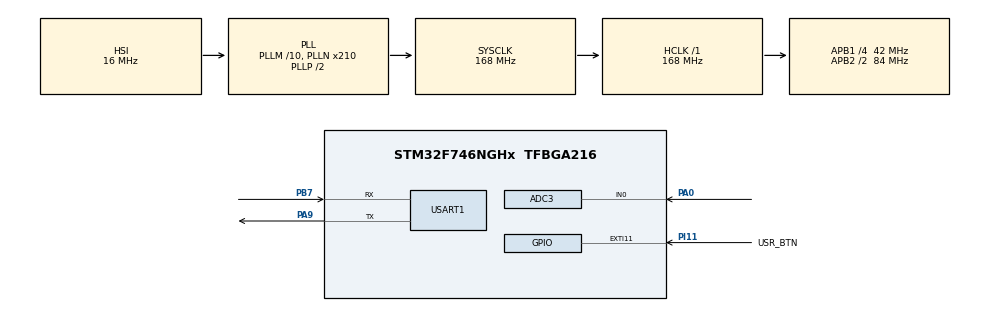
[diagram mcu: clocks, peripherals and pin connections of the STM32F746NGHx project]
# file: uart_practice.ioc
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ADC3.Channel-0\#ChannelRegularConversion=ADC_CHANNEL_0
ADC3.NbrOfConversionFlag=1
ADC3.Rank-0\#ChannelRegularConversion=1
ADC3.SamplingTime-0\#ChannelRegularConversion=ADC_SAMPLETIME_3CYCLES
FREERTOS.Mutexes01=linked_list,Dynamic,NULL
FREERTOS.Tasks01=defaultTask,0,128,StartDefaultTask,Default,NULL,Dynamic,NULL,NULL;RecComm,0,256,StartRecComm,Default,NULL,Dynamic,NULL,NULL;Print,0,256,StartPrint,Default,NULL,Dynamic,NULL,NULL;Dealloc,0,256,StartDealloc,Default,NULL,Dynamic,NULL,NULL
Mcu.Family=STM32F7
Mcu.Name=STM32F746NGHx
Mcu.Package=TFBGA216
NVIC.EXTI15_10_IRQn=true\:5\:0\:false\:false\:true\:true\:true\:true
NVIC.PriorityGroup=NVIC_PRIORITYGROUP_4
NVIC.TIM5_IRQn=true\:5\:0\:false\:false\:true\:true\:true\:true
NVIC.TIM8_TRG_COM_TIM14_IRQn=true\:0\:0\:false\:false\:true\:false\:false\:true
NVIC.TimeBase=TIM8_TRG_COM_TIM14_IRQn
NVIC.TimeBaseIP=TIM14
NVIC.USART1_IRQn=true\:5\:0\:false\:false\:true\:true\:true\:true
PA0/WKUP.Signal=ADCx_IN0
PA13.Mode=Serial_Wire
PA13.Signal=SYS_JTMS-SWDIO
PA14.Mode=Serial_Wire
PA14.Signal=SYS_JTCK-SWCLK
PA9.Mode=Asynchronous
PA9.Signal=USART1_TX
PB7.Mode=Asynchronous
PB7.Signal=USART1_RX
PC14/OSC32_IN.Mode=LSE-External-Oscillator
PC14/OSC32_IN.Signal=RCC_OSC32_IN
PC15/OSC32_OUT.Mode=LSE-External-Oscillator
PC15/OSC32_OUT.Signal=RCC_OSC32_OUT
PH0/OSC_IN.Mode=HSE-External-Clock-Source
PH0/OSC_IN.Signal=RCC_OSC_IN
PH1/OSC_OUT.Mode=HSE-External-Clock-Source
PH1/OSC_OUT.Signal=RCC_OSC_OUT
PI11.GPIO_Label=USR_BTN
PI11.Signal=GPXTI11
ProjectManager.HeapSize=0x200
ProjectManager.StackSize=0x400
ProjectManager.TargetToolchain=STM32CubeIDE
RCC.AHBFreq_Value=168000000
RCC.APB1CLKDivider=RCC_HCLK_DIV4
RCC.APB1Freq_Value=42000000
RCC.APB1TimFreq_Value=84000000
RCC.APB2CLKDivider=RCC_HCLK_DIV2
RCC.APB2Freq_Value=84000000
RCC.APB2TimFreq_Value=168000000
RCC.CortexFreq_Value=168000000
RCC.HCLKFreq_Value=168000000
RCC.HSE_VALUE=25000000
RCC.HSI_VALUE=16000000
RCC.PLLM=10
RCC.PLLN=210
RCC.PLLSourceVirtual=RCC_PLLSOURCE_HSI
RCC.SYSCLKFreq_VALUE=168000000
RCC.SYSCLKSource=RCC_SYSCLKSOURCE_PLLCLK
RCC.USBFreq_Value=168000000
RCC.VCOOutputFreq_Value=336000000
SH.ADCx_IN0.0=ADC3_IN0,IN0
TIM5.Period=30000
TIM5.Prescaler=8400-1
USART1.VirtualMode-Asynchronous=VM_ASYNC
VP_FREERTOS_VS_CMSIS_V1.Mode=CMSIS_V1
VP_SYS_VS_tim14.Mode=TIM14
VP_TIM5_VS_ClockSourceINT.Mode=Internal
board=STM32F746G-DISCO

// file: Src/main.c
/* USER CODE BEGIN Header */
/**
  ******************************************************************************
  * @file           : main.c
  * @brief          : Main program body
  ******************************************************************************
  * @attention
  *
  * <h2><center>&copy; Copyright (c) 2019 STMicroelectronics.
  * All rights reserved.</center></h2>
  *
  * This software component is licensed by ST under BSD 3-Clause license,
  * the "License"; You may not use this file except in compliance with the
  * License. You may obtain a copy of the License at:
  *                        opensource.org/licenses/BSD-3-Clause
  *
  ******************************************************************************
  */
/* USER CODE END Header */

#include "main.h"
#include "cmsis_os.h"

/* USER CODE BEGIN Includes */
#include "linked_list.h"
#include <stdio.h>
#include <string.h>
/* USER CODE END Includes */

ADC_HandleTypeDef hadc3;

TIM_HandleTypeDef htim5;

UART_HandleTypeDef huart1;

osThreadId defaultTaskHandle;
osThreadId RecCommHandle;
osThreadId PrintHandle;
osThreadId DeallocHandle;
osMutexId linked_listHandle;
/* USER CODE BEGIN PV */
int sys_init_flag = 0;
char uart_buffer;
char command_buffer[128];
char* command;
char* comm_char;
int uart_char_counter = 0;
node_t* command_list;
/* USER CODE END PV */

void SystemClock_Config(void);
static void MX_GPIO_Init(void);
static void MX_ADC3_Init(void);
static void MX_TIM5_Init(void);
static void MX_USART1_UART_Init(void);
void StartDefaultTask(void const * argument);
void StartRecComm(void const * argument);
void StartPrint(void const * argument);
void StartDealloc(void const * argument);

/* USER CODE BEGIN PFP */
void print_uart();
void print_linked_list(node_t* linked_list);
/* USER CODE END PFP */

/* USER CODE BEGIN 0 */
void print_uart()
{
	char tmp[32];
	sprintf(tmp, "Fakajuuu\r\n");
	HAL_UART_Transmit(&huart1, (uint8_t*)tmp, strlen(tmp), 50);
}

void print_linked_list(node_t* linked_list)
{
	if(linked_list == NULL){
		char tmp[32];
		sprintf(tmp, "EMPTY LIST\r\n");
		HAL_UART_Transmit(&huart1, (uint8_t*)tmp, strlen(tmp), 50);

	}

	int element_counter = 0;
	for(node_t* p = linked_list; p != NULL; p = p->next){
	  char tmp[128];
	  sprintf(tmp, "List element at %d.: %s\r\n", (element_counter + 1), p->data);
	  HAL_UART_Transmit(&huart1, (uint8_t*)tmp, strlen(tmp), 50);
	  element_counter++;
	}
}
/* USER CODE END 0 */

int main(void)
{

  /* MCU Configuration--------------------------------------------------------*/

  /* Reset of all peripherals, Initializes the Flash interface and the Systick. */
  HAL_Init();

  /* Configure the system clock */
  SystemClock_Config();

  /* USER CODE BEGIN SysInit */
  linked_list_create(&command_list);
  /* USER CODE END SysInit */

  /* Initialize all configured peripherals */
  MX_GPIO_Init();
  MX_ADC3_Init();
  MX_TIM5_Init();
  MX_USART1_UART_Init();
  /* USER CODE BEGIN 2 */
  HAL_TIM_Base_Start_IT(&htim5);
  HAL_UART_Receive_IT(&huart1, (uint8_t*)(&uart_buffer), 1);
  /* USER CODE END 2 */

  /* Create the mutex(es) */
  /* definition and creation of linked_list */
  osMutexDef(linked_list);
  linked_listHandle = osMutexCreate(osMutex(linked_list));

  /* Create the thread(s) */
  /* definition and creation of defaultTask */
  osThreadDef(defaultTask, StartDefaultTask, osPriorityNormal, 0, 128);
  defaultTaskHandle = osThreadCreate(osThread(defaultTask), NULL);

  /* definition and creation of RecComm */
  osThreadDef(RecComm, StartRecComm, osPriorityNormal, 0, 256);
  RecCommHandle = osThreadCreate(osThread(RecComm), NULL);

  /* definition and creation of Print */
  osThreadDef(Print, StartPrint, osPriorityNormal, 0, 256);
  PrintHandle = osThreadCreate(osThread(Print), NULL);

  /* definition and creation of Dealloc */
  osThreadDef(Dealloc, StartDealloc, osPriorityNormal, 0, 256);
  DeallocHandle = osThreadCreate(osThread(Dealloc), NULL);

  /* Start scheduler */
  osKernelStart();

  /* We should never get here as control is now taken by the scheduler */

  /* Infinite loop */
  while (1)
  {

  }
}

void SystemClock_Config(void)
{
  RCC_OscInitTypeDef RCC_OscInitStruct = {0};
  RCC_ClkInitTypeDef RCC_ClkInitStruct = {0};
  RCC_PeriphCLKInitTypeDef PeriphClkInitStruct = {0};

  /** Configure LSE Drive Capability
  */
  HAL_PWR_EnableBkUpAccess();
  /** Configure the main internal regulator output voltage
  */
  __HAL_RCC_PWR_CLK_ENABLE();
  __HAL_PWR_VOLTAGESCALING_CONFIG(PWR_REGULATOR_VOLTAGE_SCALE2);
  /** Initializes the CPU, AHB and APB busses clocks
  */
  RCC_OscInitStruct.OscillatorType = RCC_OSCILLATORTYPE_HSI;
  RCC_OscInitStruct.HSIState = RCC_HSI_ON;
  RCC_OscInitStruct.HSICalibrationValue = RCC_HSICALIBRATION_DEFAULT;
  RCC_OscInitStruct.PLL.PLLState = RCC_PLL_ON;
  RCC_OscInitStruct.PLL.PLLSource = RCC_PLLSOURCE_HSI;
  RCC_OscInitStruct.PLL.PLLM = 10;
  RCC_OscInitStruct.PLL.PLLN = 210;
  RCC_OscInitStruct.PLL.PLLP = RCC_PLLP_DIV2;
  RCC_OscInitStruct.PLL.PLLQ = 2;
  if (HAL_RCC_OscConfig(&RCC_OscInitStruct) != HAL_OK)
  {
    Error_Handler();
  }
  /** Initializes the CPU, AHB and APB busses clocks
  */
  RCC_ClkInitStruct.ClockType = RCC_CLOCKTYPE_HCLK|RCC_CLOCKTYPE_SYSCLK
                              |RCC_CLOCKTYPE_PCLK1|RCC_CLOCKTYPE_PCLK2;
  RCC_ClkInitStruct.SYSCLKSource = RCC_SYSCLKSOURCE_PLLCLK;
  RCC_ClkInitStruct.AHBCLKDivider = RCC_SYSCLK_DIV1;
  RCC_ClkInitStruct.APB1CLKDivider = RCC_HCLK_DIV4;
  RCC_ClkInitStruct.APB2CLKDivider = RCC_HCLK_DIV2;

  if (HAL_RCC_ClockConfig(&RCC_ClkInitStruct, FLASH_LATENCY_5) != HAL_OK)
  {
    Error_Handler();
  }
  PeriphClkInitStruct.PeriphClockSelection = RCC_PERIPHCLK_USART1;
  PeriphClkInitStruct.Usart1ClockSelection = RCC_USART1CLKSOURCE_PCLK2;
  if (HAL_RCCEx_PeriphCLKConfig(&PeriphClkInitStruct) != HAL_OK)
  {
    Error_Handler();
  }
}

static void MX_ADC3_Init(void)
{

  ADC_ChannelConfTypeDef sConfig = {0};

  /** Configure the global features of the ADC (Clock, Resolution, Data Alignment and number of conversion)
  */
  hadc3.Instance = ADC3;
  hadc3.Init.ClockPrescaler = ADC_CLOCK_SYNC_PCLK_DIV4;
  hadc3.Init.Resolution = ADC_RESOLUTION_12B;
  hadc3.Init.ScanConvMode = ADC_SCAN_DISABLE;
  hadc3.Init.ContinuousConvMode = DISABLE;
  hadc3.Init.DiscontinuousConvMode = DISABLE;
  hadc3.Init.ExternalTrigConvEdge = ADC_EXTERNALTRIGCONVEDGE_NONE;
  hadc3.Init.ExternalTrigConv = ADC_SOFTWARE_START;
  hadc3.Init.DataAlign = ADC_DATAALIGN_RIGHT;
  hadc3.Init.NbrOfConversion = 1;
  hadc3.Init.DMAContinuousRequests = DISABLE;
  hadc3.Init.EOCSelection = ADC_EOC_SINGLE_CONV;
  if (HAL_ADC_Init(&hadc3) != HAL_OK)
  {
    Error_Handler();
  }
  /** Configure for the selected ADC regular channel its corresponding rank in the sequencer and its sample time.
  */
  sConfig.Channel = ADC_CHANNEL_0;
  sConfig.Rank = ADC_REGULAR_RANK_1;
  sConfig.SamplingTime = ADC_SAMPLETIME_3CYCLES;
  if (HAL_ADC_ConfigChannel(&hadc3, &sConfig) != HAL_OK)
  {
    Error_Handler();
  }

}

static void MX_TIM5_Init(void)
{

  TIM_ClockConfigTypeDef sClockSourceConfig = {0};
  TIM_MasterConfigTypeDef sMasterConfig = {0};

  htim5.Instance = TIM5;
  htim5.Init.Prescaler = 8400-1;
  htim5.Init.CounterMode = TIM_COUNTERMODE_UP;
  htim5.Init.Period = 30000;
  htim5.Init.ClockDivision = TIM_CLOCKDIVISION_DIV1;
  htim5.Init.AutoReloadPreload = TIM_AUTORELOAD_PRELOAD_DISABLE;
  if (HAL_TIM_Base_Init(&htim5) != HAL_OK)
  {
    Error_Handler();
  }
  sClockSourceConfig.ClockSource = TIM_CLOCKSOURCE_INTERNAL;
  if (HAL_TIM_ConfigClockSource(&htim5, &sClockSourceConfig) != HAL_OK)
  {
    Error_Handler();
  }
  sMasterConfig.MasterOutputTrigger = TIM_TRGO_RESET;
  sMasterConfig.MasterSlaveMode = TIM_MASTERSLAVEMODE_DISABLE;
  if (HAL_TIMEx_MasterConfigSynchronization(&htim5, &sMasterConfig) != HAL_OK)
  {
    Error_Handler();
  }

}

static void MX_USART1_UART_Init(void)
{

  huart1.Instance = USART1;
  huart1.Init.BaudRate = 115200;
  huart1.Init.WordLength = UART_WORDLENGTH_8B;
  huart1.Init.StopBits = UART_STOPBITS_1;
  huart1.Init.Parity = UART_PARITY_NONE;
  huart1.Init.Mode = UART_MODE_TX_RX;
  huart1.Init.HwFlowCtl = UART_HWCONTROL_NONE;
  huart1.Init.OverSampling = UART_OVERSAMPLING_16;
  huart1.Init.OneBitSampling = UART_ONE_BIT_SAMPLE_DISABLE;
  huart1.AdvancedInit.AdvFeatureInit = UART_ADVFEATURE_NO_INIT;
  if (HAL_UART_Init(&huart1) != HAL_OK)
  {
    Error_Handler();
  }

}

static void MX_GPIO_Init(void)
{
  GPIO_InitTypeDef GPIO_InitStruct = {0};

  /* GPIO Ports Clock Enable */
  __HAL_RCC_GPIOA_CLK_ENABLE();
  __HAL_RCC_GPIOB_CLK_ENABLE();
  __HAL_RCC_GPIOC_CLK_ENABLE();
  __HAL_RCC_GPIOI_CLK_ENABLE();
  __HAL_RCC_GPIOH_CLK_ENABLE();

  /*Configure GPIO pin : USR_BTN_Pin */
  GPIO_InitStruct.Pin = USR_BTN_Pin;
  GPIO_InitStruct.Mode = GPIO_MODE_IT_RISING;
  GPIO_InitStruct.Pull = GPIO_NOPULL;
  HAL_GPIO_Init(USR_BTN_GPIO_Port, &GPIO_InitStruct);

  /* EXTI interrupt init*/
  HAL_NVIC_SetPriority(EXTI15_10_IRQn, 5, 0);
  HAL_NVIC_EnableIRQ(EXTI15_10_IRQn);

}

/* USER CODE BEGIN 4 */

void HAL_UART_RxCpltCallback(UART_HandleTypeDef *huart) {
	if(huart->Instance == USART1) {
		if(sys_init_flag ){
			//HAL_UART_Receive_IT(&huart1, (uint8_t*)(&buffer_bela), 1);
			command_buffer[uart_char_counter] = uart_buffer;
			if(uart_buffer != '\0') {
				uart_char_counter++;
			} else {
				//osSignalSet(RecCommHandle, 3);
				command_buffer[uart_char_counter + 1] = '\0';
				uart_char_counter = 0;
				osSignalSet(RecCommHandle, 2);
			}

			HAL_UART_Receive_IT(&huart1, (uint8_t*)(&uart_buffer), 1);
		}
	}
}

void HAL_GPIO_EXTI_Callback(uint16_t GPIO_Pin)
{
	if(GPIO_Pin == USR_BTN_Pin){
		osSignalSet(DeallocHandle, 5);
	}
}
/* USER CODE END 4 */

void StartDefaultTask(void const * argument)
{

  for(;;)
  {
    osDelay(1);
  }
}

void StartRecComm(void const * argument)
{
  /* USER CODE BEGIN StartRecComm */
  /* Infinite loop */
  for(;;)
  {
	  osSignalWait(2, osWaitForever);
	  osMutexWait(linked_listHandle, osWaitForever);

	  /*for(int i = 0; i < 128; ++i){
		  command[i] = command_buffer[i];
	  }*/

	  //command = (char*)pvPortMalloc(strlen(command_buffer));
	  //strcpy(command, command_buffer);
	  /*for(int i = 0; i < 128; ++i){
		  command[i] = command_buffer[i];
	  }*/
	  for(int i = 0; i < strlen(command_buffer); ++i){
		  comm_char = (char*)pvPortMalloc(sizeof(char));
		  comm_char[i] = command_buffer[i];
		  linked_list_push_back(&command_list, &comm_char[i]);
	  }

	  //linked_list_push_back(&command_list, comm_char);

	  osMutexRelease(linked_listHandle);

    osDelay(1);
  }
  /* USER CODE END StartRecComm */
}

void StartPrint(void const * argument)
{
  /* USER CODE BEGIN StartPrint */
  /* Infinite loop */
  for(;;)
  {
	  osSignalWait(1, osWaitForever);
	  osMutexWait(linked_listHandle, osWaitForever);
	  print_linked_list(command_list);
	  osMutexRelease(linked_listHandle);

    osDelay(1);
  }
  /* USER CODE END StartPrint */
}

void StartDealloc(void const * argument)
{
  /* USER CODE BEGIN StartDealloc */
  /* Infinite loop */
  for(;;)
  {
	  osSignalWait(5, osWaitForever);
	  osMutexWait(linked_listHandle, osWaitForever);
	  linked_list_deallocate(&command_list);
	  linked_list_create(&command_list);
	  osMutexRelease(linked_listHandle);

    osDelay(1);
  }
  /* USER CODE END StartDealloc */
}

void HAL_TIM_PeriodElapsedCallback(TIM_HandleTypeDef *htim)
{
  /* USER CODE BEGIN Callback 0 */
  if(htim->Instance == TIM5){
	  if(!sys_init_flag){
		  sys_init_flag = 1;
		  return;
	  }

	  osSignalSet(PrintHandle, 1);
  }
  /* USER CODE END Callback 0 */
  if (htim->Instance == TIM14) {
    HAL_IncTick();
  }
}

void Error_Handler(void)
{
}

/************************ (C) COPYRIGHT STMicroelectronics *****END OF FILE****/
